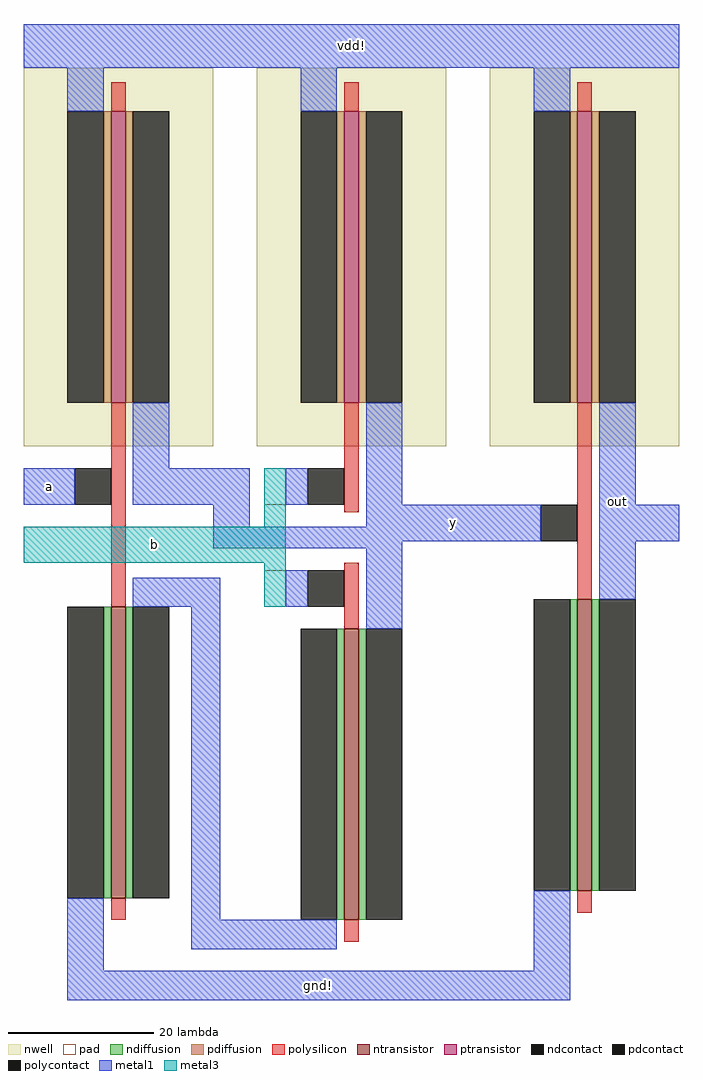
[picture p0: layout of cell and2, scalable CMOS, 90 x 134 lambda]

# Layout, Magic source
magic
tech scmos
<< nwell >>
rect -1 30 25 82
rect 31 30 57 82
rect 63 30 89 82
<< ntransistor >>
rect 11 -32 13 8
rect 43 -35 45 5
rect 75 -31 77 9
<< ptransistor >>
rect 11 36 13 76
rect 43 36 45 76
rect 75 36 77 76
<< ndiffusion >>
rect 10 -32 11 8
rect 13 -32 14 8
rect 42 -35 43 5
rect 45 -35 46 5
rect 74 -31 75 9
rect 77 -31 78 9
<< pdiffusion >>
rect 10 36 11 76
rect 13 36 14 76
rect 42 36 43 76
rect 45 36 46 76
rect 74 36 75 76
rect 77 36 78 76
<< ndcontact >>
rect 5 -32 10 8
rect 14 -32 19 8
rect 37 -35 42 5
rect 46 -35 51 5
rect 69 -31 74 9
rect 78 -31 83 9
<< pdcontact >>
rect 5 36 10 76
rect 14 36 19 76
rect 37 36 42 76
rect 46 36 51 76
rect 69 36 74 76
rect 78 36 83 76
<< polysilicon >>
rect 11 76 13 80
rect 43 76 45 80
rect 75 76 77 80
rect 11 8 13 36
rect 43 21 45 36
rect 43 5 45 14
rect 75 9 77 36
rect 11 -35 13 -32
rect 75 -34 77 -31
rect 43 -38 45 -35
<< polycontact >>
rect 6 22 11 27
rect 38 22 43 27
rect 70 17 75 22
rect 38 8 43 13
<< metal1 >>
rect -1 82 89 88
rect 5 76 10 82
rect 37 76 42 82
rect 69 76 74 82
rect 14 27 19 36
rect -1 22 6 27
rect 14 22 30 27
rect 35 22 38 27
rect 46 22 51 36
rect 78 22 83 36
rect 25 19 30 22
rect 46 19 70 22
rect 25 17 70 19
rect 78 17 89 22
rect 25 16 51 17
rect 14 8 26 12
rect 35 8 38 13
rect 5 -42 10 -32
rect 22 -35 26 8
rect 46 5 51 16
rect 78 9 83 17
rect 22 -39 42 -35
rect 69 -42 74 -31
rect 5 -46 74 -42
<< metal3 >>
rect 32 19 35 27
rect -1 14 35 19
rect 32 8 35 14
<< pad >>
rect 32 22 38 27
rect 32 8 38 13
<< labels >>
rlabel metal3 -1 14 35 19 1 b
rlabel metal1 -1 22 6 27 3 a
rlabel metal1 46 17 70 22 1 y
rlabel metal1 78 9 83 36 1 out
rlabel metal1 5 -46 74 -42 1 gnd!
rlabel metal1 -1 82 89 88 5 vdd!
<< end >>
